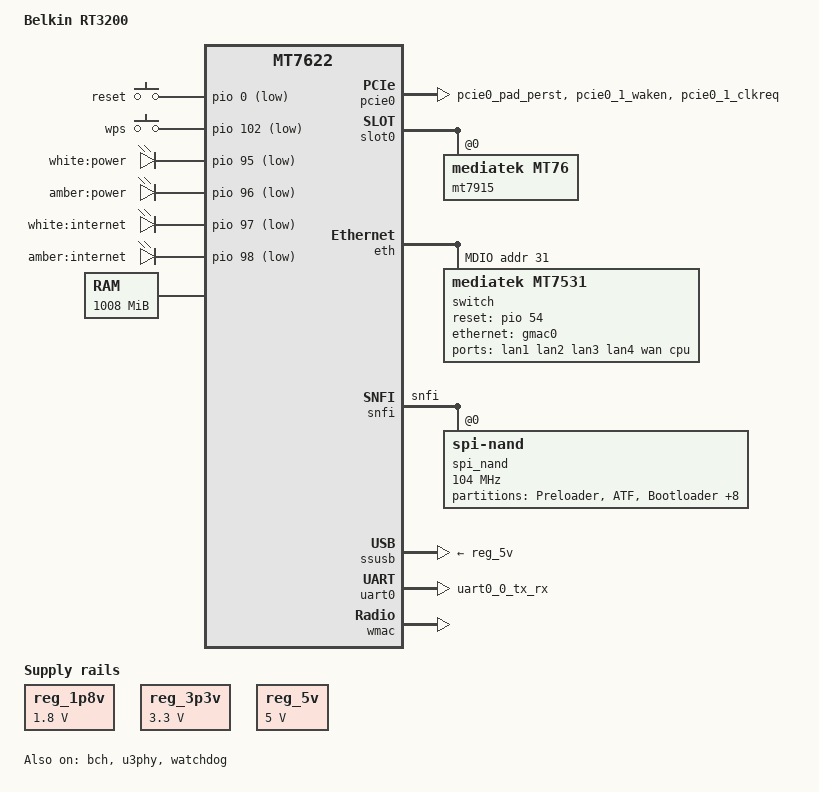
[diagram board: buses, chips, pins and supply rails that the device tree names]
/*
 * Copyright (c) 2017 MediaTek Inc.
 * Author: Ming Huang <ming.huang@mediatek.com>
 *	   Sean Wang <sean.wang@mediatek.com>
 *
 * SPDX-License-Identifier: (GPL-2.0-only OR MIT)
 */

/dts-v1/;
#include <dt-bindings/input/input.h>
#include <dt-bindings/gpio/gpio.h>

#include "mt7622.dtsi"
#include "mt6380.dtsi"

/ {
	model = "Belkin RT3200";
	compatible = "belkin,rt3200", "mediatek,mt7622";

	aliases {
		led-boot = &led_power_white;
		led-failsafe = &led_power_amber;
		led-running = &led_power_white;
		led-upgrade = &led_power_amber;
		label-mac-device = &wan;
	};

	chosen {
		stdout-path = "serial0:115200n8";
		// bootargs = "swiotlb=512 console=ttyS0,115200n1 rootfstype=squashfs";
		// bootargs-override = "swiotlb=512 console=ttyS0,115200n1 rootfstype=squashfs";
		// bootargs-append = " mtdparts=";
	};

	cpus {
		cpu@0 {
			proc-supply = <&mt6380_vcpu_reg>;
			sram-supply = <&mt6380_vm_reg>;
		};

		cpu@1 {
			proc-supply = <&mt6380_vcpu_reg>;
			sram-supply = <&mt6380_vm_reg>;
		};
	};

	gpio-keys {
		compatible = "gpio-keys";
		poll-interval = <100>;

		reset {
			label = "reset";
			gpios = <&pio 0 GPIO_ACTIVE_LOW>;
			linux,code = <KEY_RESTART>;
		};

		wps {
			label = "wps";
			linux,code = <KEY_WPS_BUTTON>;
			gpios = <&pio 102 GPIO_ACTIVE_LOW>;
		};
	};

	leds {
		compatible = "gpio-leds";

		led_power_white: power_white {
			label = "white:power";
			gpios = <&pio 95 GPIO_ACTIVE_LOW>;
		};

		led_power_amber: power_amber {
			label = "amber:power";
			gpios = <&pio 96 GPIO_ACTIVE_LOW>;
		};

		led_internet_white: internet_white {
			label = "white:internet";
			gpios = <&pio 97 GPIO_ACTIVE_LOW>;
		};

		led_internet_amber: internet_amber {
			label = "amber:internet";
			gpios = <&pio 98 GPIO_ACTIVE_LOW>;
		};
	};

	// reg_usb_vbus: regulator {
	// 	compatible = "regulator-fixed";
	// 	regulator-name = "usb_vbus";
	// 	regulator-min-microvolt = <5000000>;
	// 	regulator-max-microvolt = <5000000>;
	// 	gpio = <&pio 22 GPIO_ACTIVE_LOW>;
	// 	enable-active-high;
	// };

	memory {
		reg = <0 0x40000000 0 0x3F000000>;
	};

	reg_1p8v: regulator-1p8v {
		compatible = "regulator-fixed";
		regulator-name = "fixed-1.8V";
		regulator-min-microvolt = <1800000>;
		regulator-max-microvolt = <1800000>;
		regulator-always-on;
	};

	reg_3p3v: regulator-3p3v {
		compatible = "regulator-fixed";
		regulator-name = "fixed-3.3V";
		regulator-min-microvolt = <3300000>;
		regulator-max-microvolt = <3300000>;
		regulator-boot-on;
		regulator-always-on;
	};

	reg_5v: regulator-5v {
		compatible = "regulator-fixed";
		regulator-name = "fixed-5V";
		regulator-min-microvolt = <5000000>;
		regulator-max-microvolt = <5000000>;
		regulator-boot-on;
		regulator-always-on;
	};

	// rtkgsw: rtkgsw@0 {
	// 	compatible = "mediatek,rtk-gsw";
	// 	mediatek,ethsys = <&ethsys>;
	// 	mediatek,mdio = <&mdio>;
	// 	mediatek,reset-pin = <&pio 54 0>;
	// 	status = "okay";
	// };
};

&pcie0 {
	pinctrl-names = "default";
	pinctrl-0 = <&pcie0_pins>;
	status = "okay";
};

// &pcie1 {
// 	pinctrl-names = "default";
// 	pinctrl-0 = <&pcie1_pins>;
// 	status = "okay";
// };

&slot0 {
	mt7915@0,0 {
		compatible = "mediatek,mt76";
		reg = <0x0000 0 0 0 0>;
		device_type = "pci";
		mediatek,mtd-eeprom = <&factory 0x05000>;
		ieee80211-freq-limit = <5000000 6000000>;
	};
};

&pio {
	eth_pins: eth-pins {
		mux {
			function = "eth";
			groups = "mdc_mdio", "rgmii_via_gmac2";
		};
	};

	pcie0_pins: pcie0-pins {
		mux {
			function = "pcie";
			groups = "pcie0_pad_perst",
				 "pcie0_1_waken",
				 "pcie0_1_clkreq";
		};
	};

	// pcie1_pins: pcie1-pins {
	// 	mux {
	// 		function = "pcie";
	// 		groups = "pcie1_pad_perst",
	// 			 "pcie1_0_waken",
	// 			 "pcie1_0_clkreq";
	// 	};
	// };

	pmic_bus_pins: pmic-bus-pins {
		mux {
			function = "pmic";
			groups = "pmic_bus";
		};
	};

	/* serial NAND is shared pin with SPI-NOR */
	serial_nand_pins: serial-nand-pins {
		mux {
			function = "flash";
			groups = "snfi";
		};
	};

	uart0_pins: uart0-pins {
		mux {
			function = "uart";
			groups = "uart0_0_tx_rx" ;
		};
	};

	watchdog_pins: watchdog-pins {
		mux {
			function = "watchdog";
			groups = "watchdog";
		};
	};
};

&bch {
	status = "okay";
};

&btif {
	status = "disabled";
};

&cir {
	status = "disabled";
};

&pwrap {
	pinctrl-names = "default";
	pinctrl-0 = <&pmic_bus_pins>;

	status = "okay";
};

&eth {
	status = "okay";
	gmac0: mac@0 {
		compatible = "mediatek,eth-mac";
		reg = <0>;
		mtd-mac-address = <&factory 0x7FFF4>;
		phy-mode = "2500base-x";
		// phy-mode = "sgmii";

		fixed-link {
			speed = <2500>;
			// speed = <1000>;
			full-duplex;
			pause;
		};
	};

	gmac1: mac@1 {
		compatible = "mediatek,eth-mac";
		reg = <1>;
		mtd-mac-address = <&factory 0x7FFFA>;
		phy-mode = "rgmii";

		fixed-link {
			speed = <1000>;
			full-duplex;
			pause;
		};
	};

	mdio: mdio-bus {
		#address-cells = <1>;
		#size-cells = <0>;

		switch@1f {
			compatible = "mediatek,mt7531";
			reg = <0x1f>;
			reset-gpios = <&pio 54 0>;

			ports {
				#address-cells = <1>;
				#size-cells = <0>;

				port@0 {
					reg = <0>;
					label = "lan1";
				};

				port@1 {
					reg = <1>;
					label = "lan2";
				};

				port@2 {
					reg = <2>;
					label = "lan3";
				};

				port@3 {
					reg = <3>;
					label = "lan4";
				};

				wan: port@4 {
					reg = <4>;
					label = "wan";
					mtd-mac-address = <&factory 0x7FFFA>;
				};

				// Currently 2 cpu port are not supported in DSA
				// port@5 {
				// 	reg = <5>;
				// 	label = "cpu";
				// 	ethernet = <&gmac1>;
				// 	phy-mode = "rgmii";

				// 	fixed-link {
				// 		speed = <1000>;
				// 		full-duplex;
				// 		pause;
				// 	};
				// };

				port@6 {
					reg = <6>;
					label = "cpu";
					ethernet = <&gmac0>;
					phy-mode = "2500base-x";

					fixed-link {
						speed = <2500>;
						full-duplex;
						pause;
					};
				};
			};
		};

	};
};

&snfi {
	pinctrl-names = "default";
	pinctrl-0 = <&serial_nand_pins>;
	status = "okay";

	spi_nand@0 {
		#address-cells = <1>;
		#size-cells = <1>;
		compatible = "spi-nand";
		spi-max-frequency = <104000000>;
		reg = <0>;

		mediatek,bmt-v2;

		partitions {
			compatible = "fixed-partitions";
			#address-cells = <1>;
			#size-cells = <1>;

			partition@0 {
				label = "Preloader";
				reg = <0x00000 0x0080000>;
				read-only;
			};

			partition@80000 {
				label = "ATF";
				reg = <0x80000 0x0040000>;
				read-only;
			};

			partition@c0000 {
				label = "Bootloader";
				reg = <0xc0000 0x0080000>;
				read-only;
			};

			partition@140000 {
				label = "Config";
				reg = <0x140000 0x0080000>;
				read-only;
			};

			factory: partition@1c0000 {
				label = "Factory";
				reg = <0x1c0000 0x0100000>;
				read-only;
			};
			partition@300000 {
				label = "Devinfo";
				reg = <0x300000 0x0020000>;
				read-only;
			};
			partition@320000 {
				label = "senv";
				reg = <0x320000 0x0020000>;
			};
			partition@360000 {
				label = "bootseq";
				reg = <0x360000 0x0020000>;
				read-only;
			};
			
			partition@500000 {
				compatible = "denx,fit";
				label = "firmware"; // label = "Kernel1";
				reg = <0x500000 0x1e00000>;
			};
			
			partition@2300000 {
				label = "Kernel2";
				reg = <0x2300000 0x1e00000>;
				read-only;
			};

    		partition@5a00000 {
				label = "mfg";
				reg = <0x5a00000 0x1400000>;
				read-only;
			};
		};
	};
};

&ssusb {
	vusb33-supply = <&reg_3p3v>;
	vbus-supply = <&reg_5v>;
	status = "okay";
};

&u3phy {
	status = "okay";
};

&uart0 {
	pinctrl-names = "default";
	pinctrl-0 = <&uart0_pins>;
	status = "okay";
};

&watchdog {
	pinctrl-names = "default";
	pinctrl-0 = <&watchdog_pins>;
	status = "okay";
};

&wmac {
	mediatek,mtd-eeprom = <&factory 0x0000>;
	status = "okay";
};
